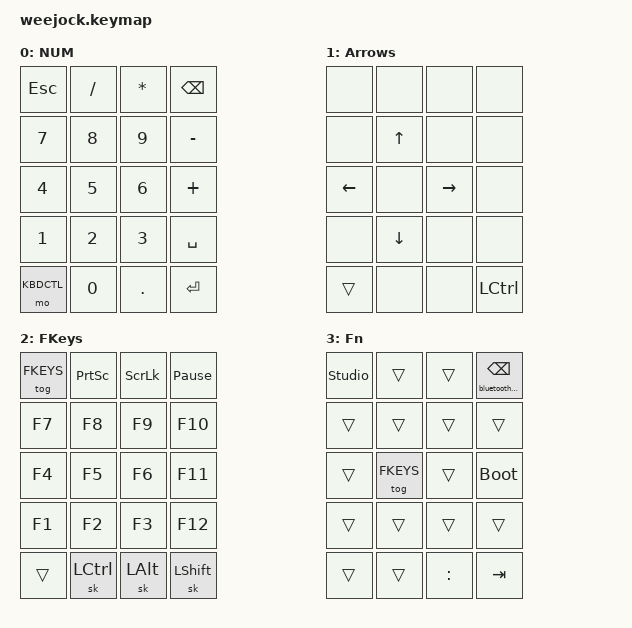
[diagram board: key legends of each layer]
#include <behaviors.dtsi>
#include <dt-bindings/zmk/keys.h>
#include <dt-bindings/zmk/bt.h>

// Layer numbers
#define NUM 0
#define ARROW 1
#define FKEYS 2
#define KBDCTL 3

/ {
  keymap {
    compatible = "zmk,keymap";

    default_layer { // layer 0
      // ,-----------------------.
      // | Esc |  /  |  *  | Bks |
      // |  7  |  8  |  9  |  -  |
      // |  4  |  5  |  6  |  +  |
      // |  1  |  2  |  3  | Spc |
      // |RAISE|  0  |  .  | Ent |
      // `-----------------------'
      bindings = <
        &kp ESCAPE  &kp SLASH  &kp STAR  &kp BACKSPACE
        &kp N7      &kp N8     &kp N9    &kp MINUS
        &kp N4      &kp N5     &kp N6    &kp PLUS
        &kp N1      &kp N2     &kp N3    &kp SPACE
        &mo KBDCTL  &kp N0     &kp DOT   &kp ENTER
      >;
      display-name = "NUM";
    };
    arrow_layer { // layer 1
      // ,-----------------------.
      // |     |     |     |     |
      // |     | Up  |     |     |
      // | Left|     |Right|     |
      // |     | Down|     |     |
      // |#####|     |     | Ctl |
      // `-----------------------'
      bindings = <
        &none    &none    &none     &none
        &none    &kp UP   &none     &none
        &kp LEFT &none    &kp RIGHT &none
        &none    &kp DOWN &none     &none
        &trans   &none    &none     &kp LCTRL
      >;
      display-name = "Arrows";
    };
    function_key_layer { // layer 2
      // ,-----------------------.
      // |XXXXX|PrtSc|Scrlk|Pause|
      // |  F7 |  F8 |  F9 | F10 |
      // |  F4 |  F5 |  F6 | F11 |
      // |  F1 |  F2 |  F3 | F12 |
      // |#####| Ctl | Alt |Shift|
      // `-----------------------'
      bindings = <
        &tog FKEYS &kp PSCRN &kp SLCK &kp PAUSE_BREAK
        &kp F7     &kp F8    &kp F9   &kp F10
        &kp F4     &kp F5    &kp F6   &kp F11
        &kp F1     &kp F2    &kp F3   &kp F12
        &trans     &sk LCTRL &sk LALT &sk LSHIFT
      >;
      display-name = "FKeys";
    };
    keyboard_control_layer { // layer 3
      // ,-----------------------.
      // |ZMKSt|     |     |BTClr|
      // |     |     |     |     |
      // |     |FKeys|     | DFU |
      // |     |     |     |     |
      // |#####|     |  :  | Tab |
      // `-----------------------'
      bindings = <
        &studio_unlock  &trans     &trans     &bt_hold_clear 0 BACKSPACE
        &trans          &trans     &trans     &trans
        &trans          &tog FKEYS &trans     &bootloader
        &trans          &trans     &trans     &trans
        &trans          &trans     &kp COLON  &kp TAB
      >;
      display-name = "Fn";
    };
    extra_layer_4 {
      status = "reserved";
    };
    extra_layer_5 {
      status = "reserved";
    };
    extra_layer_6 {
      status = "reserved";
    };
  };

  macros {
    // Clear all BT profiles. This is needed because &bt cannot be used directly from hold-taps.
    bluetooth_clear_all: bluetooth_clear_all {
      compatible = "zmk,behavior-macro";
      #binding-cells = <0>;
      bindings = <&bt BT_CLR_ALL>;
    };
  };

  behaviors {
    // Hold a button for over a second to clear all BT profiles.
    bt_hold_clear: bt_hold_clear {
      compatible = "zmk,behavior-hold-tap";
      #binding-cells = <2>;
      flavor = "tap-preferred";
      tapping-term-ms = <1000>;
      bindings = <&bluetooth_clear_all>, <&kp>;
    };
  };
};
